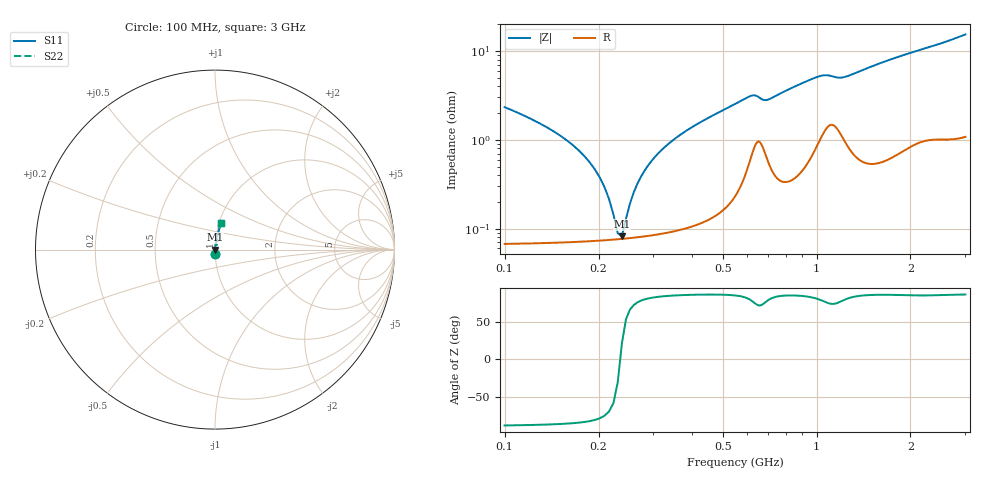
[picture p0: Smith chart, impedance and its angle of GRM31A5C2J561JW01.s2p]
!Murata Part Number: GRM31A5C2J561JW01
!These Parameters are Measured in Series Mode Connection
!Data Generated on Mar 30, 2021
!  o--ll--o
!Port1  Port2
!  o------o
!Operation Temp=25[degC], DC Bias Voltage=0[V]
!Freq. Start=100[MHz] Stop=3[GHz] 401[Steps]
# Hz S RI R 50
!Freq.(Hz) S11(Real) S11(Imag) S21(Real) S21(Imag) S12(Real) S12(Imag) S22(Real) S22(Imag)
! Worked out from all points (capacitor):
!   401 points, 100 MHz to 3 GHz, reference 50 ohm
!   read as one part in series: C = 559 pF near 114.5 MHz
!   lowest |Z| = 82.5 mohm at 237.8 MHz (marker M1)
!   series resonance near 234.9 MHz, so ESL is about 820 pH
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1e8  0.00122 -0.0233  0.9988 0.0233  0.9988 0.0233  0.00122 -0.0233
1.435e8  0.000848 -0.0124  0.9992 0.0124  0.9992 0.0124  0.000848 -0.0124
1.7975e8  0.00076 -0.00657  0.9992 0.00657  0.9992 0.00657  0.00076 -0.00657
2.015e8  0.000748 -0.00374  0.9993 0.00374  0.9993 0.00374  0.000748 -0.00374
2.2325e8  0.000755 -0.00123  0.9992 0.00123  0.9992 0.00123  0.000755 -0.00123
2.305e8  0.00076 -0.000455  0.9992 0.000455  0.9992 0.000455  0.00076 -0.000455
2.3775e8  0.000767 0.0003  0.9992 -0.0003  0.9992 -0.0003  0.000767 0.0003
2.45e8  0.000776 0.00103  0.9992 -0.00103  0.9992 -0.00103  0.000776 0.00103
2.6675e8  0.00081 0.00312  0.9992 -0.00312  0.9992 -0.00312  0.00081 0.00312
2.8125e8  0.000839 0.00444  0.9992 -0.00444  0.9992 -0.00444  0.000839 0.00444
3.32e8  0.000975 0.0087  0.999 -0.0087  0.999 -0.0087  0.000975 0.0087
4.2625e8  0.0014 0.0158  0.9986 -0.0158  0.9986 -0.0158  0.0014 0.0158
5.8575e8  0.0045 0.0282  0.9955 -0.0282  0.9955 -0.0282  0.0045 0.0282
6.2925e8  0.00877 0.0301  0.9912 -0.0301  0.9912 -0.0301  0.00877 0.0301
6.945e8  0.00676 0.0271  0.9932 -0.0271  0.9932 -0.0271  0.00676 0.0271
9.12e8  0.00665 0.0436  0.9933 -0.0436  0.9933 -0.0436  0.00665 0.0436
1.0715e9  0.0156 0.0502  0.9844 -0.0502  0.9844 -0.0502  0.0156 0.0502
1.2165e9  0.0126 0.0482  0.9874 -0.0482  0.9874 -0.0482  0.0126 0.0482
1.55e9  0.0101 0.0685  0.9899 -0.0685  0.9899 -0.0685  0.0101 0.0685
2.03575e9  0.0175 0.094  0.9825 -0.094  0.9825 -0.094  0.0175 0.094
2.5215e9  0.0242 0.1179  0.9758 -0.1179  0.9758 -0.1179  0.0242 0.1179
3e9  0.0327 0.1461  0.9673 -0.1461  0.9673 -0.1461  0.0327 0.1461
